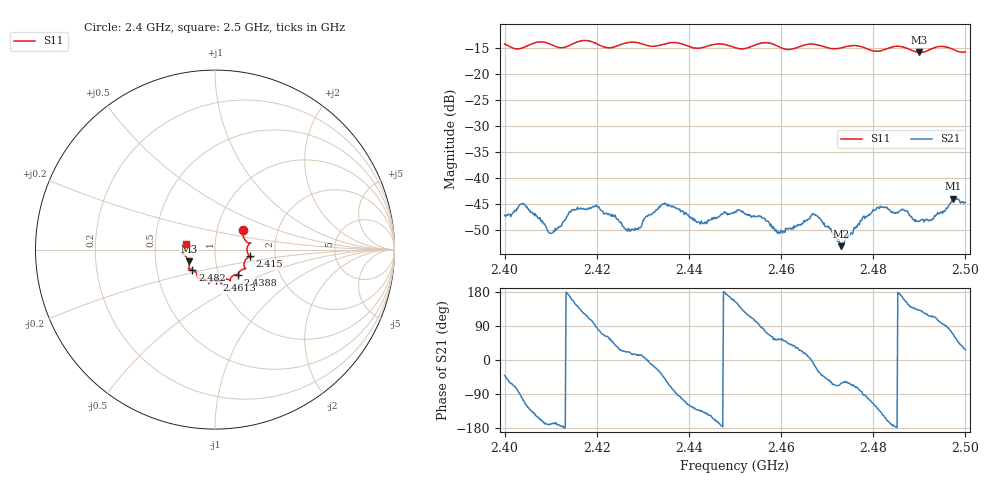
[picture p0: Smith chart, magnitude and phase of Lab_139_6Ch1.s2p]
# Hz S RI R 50
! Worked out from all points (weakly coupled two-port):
!   601 points, 2.4 GHz to 2.5 GHz, reference 50 ohm
!   highest |S21| = -43.96 dB at 2.4973 GHz (marker M1); lowest = -53.1 dB at 2.473 GHz (marker M2)
!   lowest |S11| = -15.9 dB at 2.49 GHz (marker M3), VSWR 1.38, Z = 36.9 - j4.89 ohm
!   |S11| at or under -10 dB: start of sweep to end of sweep
!   S12 and S22 are empty: the file has one direction only
!   S11 on the Smith chart (normalised r, x): 2.4 GHz: 1.33, +0.31; 2.415 GHz: 1.47, -0.11; 2.4388 GHz: 1.24, -0.36; 2.4613 GHz: 0.96, -0.34; 2.482 GHz: 0.76, -0.17; 2.5 GHz: 0.72, +0.05
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2.4e9  0.158 0.112  0.00333 -0.0029  0 0  0 0
2.404e9  0.1716 0.048  -0.0016 -0.0055  0 0  0 0
2.41e9  0.1895 0.0309  -0.00288 -0.000575  0 0  0 0
2.415e9  0.1924 -0.0362  -0.00453 0.00216  0 0  0 0
2.416667e9  0.2033 -0.044  -0.00321 0.00395  0 0  0 0
2.420167e9  0.1879 -0.043  0.000732 0.00532  0 0  0 0
2.427e9  0.1709 -0.1048  0.00289 0.00112  0 0  0 0
2.433333e9  0.1323 -0.1314  0.00446 -0.00236  0 0  0 0
2.438833e9  0.1297 -0.1406  -0.00128 -0.00449  0 0  0 0
2.4435e9  0.0878 -0.1587  -0.00291 -0.00241  0 0  0 0
2.45e9  0.0688 -0.1649  -0.0043 0.00212  0 0  0 0
2.456833e9  0.0382 -0.1953  0.00117 0.00369  0 0  0 0
2.459167e9  0.0321 -0.1825  0.00184 0.0025  0 0  0 0
2.461333e9  0.0077 -0.1713  0.00228 0.00233  0 0  0 0
2.466667e9  -0.0351 -0.1901  0.00442 -0.000179  0 0  0 0
2.473e9  -0.078 -0.1595  0.00104 -0.00196  0 0  0 0
2.482e9  -0.1258 -0.1116  -0.00427 -0.00303  0 0  0 0
2.483333e9  -0.1394 -0.1086  -0.00475 -0.00146  0 0  0 0
2.49e9  -0.1468 -0.0645  -0.00256 0.00286  0 0  0 0
2.492667e9  -0.1716 -0.0296  -0.0016 0.00359  0 0  0 0
2.497333e9  -0.1715 -0.00807  0.00236 0.00588  0 0  0 0
2.5e9  -0.1588 0.0324  0.00524 0.00262  0 0  0 0
